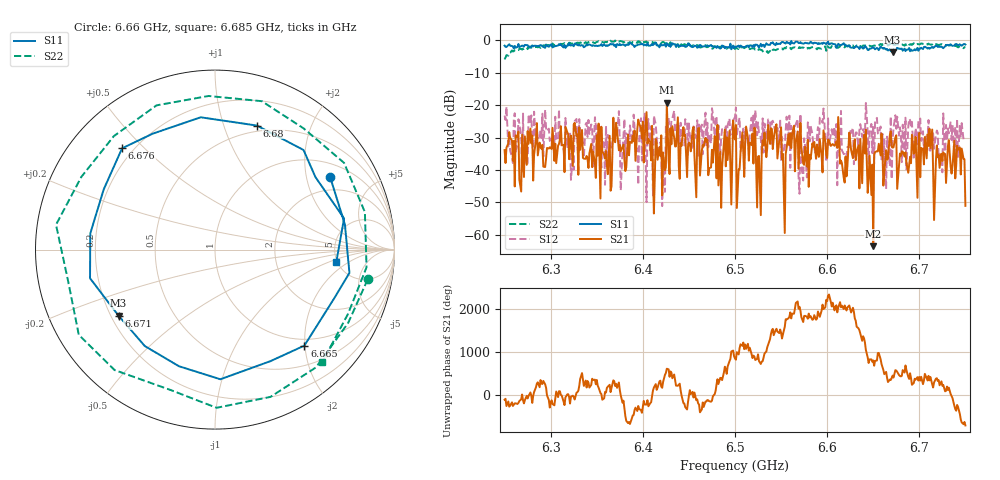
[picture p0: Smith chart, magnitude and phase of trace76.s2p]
# Hz S RI R 50
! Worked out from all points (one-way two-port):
!   401 points, 6.25 GHz to 6.75 GHz, reference 50 ohm
!   highest |S21| = -19.30 dB at 6.426 GHz (marker M1); lowest = -63.5 dB at 6.65 GHz (marker M2)
!   lowest |S11| = -3.7 dB at 6.671 GHz (marker M3), VSWR 4.74, Z = 11.5 - j14.8 ohm
!   |S11| at or under -10 dB: nowhere
!   |S22| runs from -5.9 to -0.1 dB; largest |S21 - S12| = 0.12
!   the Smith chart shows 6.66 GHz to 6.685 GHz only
!   S11 on the Smith chart (normalised r, x): 6.66 GHz: 1.46, +2.77; 6.665 GHz: 0.87, -1.99; 6.671 GHz: 0.23, -0.30; 6.676 GHz: 0.16, +0.43; 6.68 GHz: 0.44, +1.30; 6.685 GHz: 4.90, -1.26
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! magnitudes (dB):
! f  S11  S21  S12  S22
! 6.25 GHz  -1.7  -33.9  -23.2  -5.9
! 6.256 GHz  -1.7  -30.1  -34.0  -3.9
! 6.334 GHz  -1.5  -27.7  -28.4  -0.9
! 6.418 GHz  -2.2  -33.0  -33.6  -0.8
! 6.426 GHz  -0.9  -19.3  -30.2  -1.0
! 6.5 GHz  -1.9  -30.6  -23.7  -2.7
! 6.52 GHz  -1.5  -38.0  -23.2  -2.4
! 6.526 GHz  -2.3  -35.7  -28.6  -2.7
! 6.538 GHz  -1.4  -31.9  -24.6  -3.3
! 6.565 GHz  -0.7  -40.4  -26.4  -2.2
! 6.571 GHz  -0.6  -25.5  -22.7  -2.4
! 6.584 GHz  -0.9  -31.8  -28.9  -2.2
! 6.65 GHz  -2.2  -63.5  -26.2  -1.7
! 6.66 GHz  -2.4  -34.3  -28.9  -1.2
! 6.665 GHz  -2.7  -36.9  -29.7  -1.1
! 6.668 GHz  -2.8  -29.3  -38.9  -1.2
! 6.671 GHz  -3.7  -33.1  -30.8  -0.9
! 6.676 GHz  -2.3  -45.8  -23.6  -1.3
! 6.68 GHz  -2.7  -35.7  -29.2  -1.2
! 6.685 GHz  -3.4  -34.5  -23.9  -1.2
! 6.711 GHz  -2.6  -27.3  -33.8  -1.3
! 6.75 GHz  -1.3  -51.1  -30.4  -2.1
